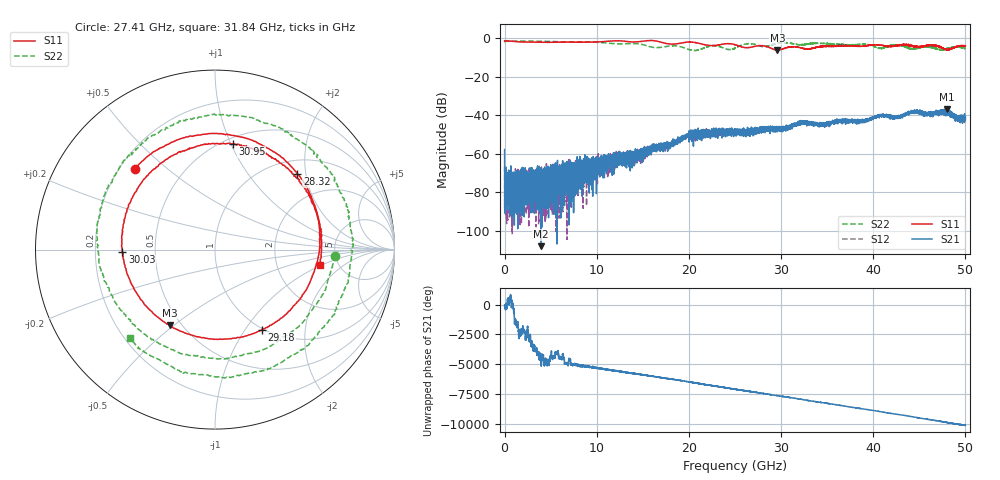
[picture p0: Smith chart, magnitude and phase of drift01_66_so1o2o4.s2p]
!Created with skrf (http://scikit-rf.org).
# Hz S RI R 50.0
!freq ReS11 ImS11 ReS21 ImS21 ReS12 ImS12 ReS22 ImS22
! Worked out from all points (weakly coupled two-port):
!   10001 points, 300 kHz to 50 GHz, reference 50 ohm
!   highest |S21| = -36.65 dB at 48.03 GHz (marker M1); lowest = -108.0 dB at 3.945 GHz (marker M2)
!   lowest |S11| = -6.2 dB at 29.61 GHz (marker M3), VSWR 2.93, Z = 21.7 - j24.1 ohm
!   |S11| at or under -10 dB: nowhere
!   |S22| runs from -6.4 to -1.4 dB; largest |S21 - S12| = 0.0032
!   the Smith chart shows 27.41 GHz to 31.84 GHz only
!   S11 on the Smith chart (normalised r, x): 27.41 GHz: 0.26, +0.39; 28.32 GHz: 1.30, +1.79; 29.18 GHz: 0.98, -1.20; 30.03 GHz: 0.32, -0.01; 30.95 GHz: 0.56, +1.01; 31.84 GHz: 3.59, -0.97
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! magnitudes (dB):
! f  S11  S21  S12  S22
! 300 kHz  -1.3  -57.8  -66.7  -2.1
! 285.3 MHz  -1.4  -72.4  -77.6  -1.4
! 3.945 GHz  -2.0  -108.0  -82.8  -1.5
! 8.335 GHz  -2.0  -69.4  -69.5  -1.8
! 16.67 GHz  -1.6  -56.4  -57.5  -4.8
! 18.62 GHz  -2.9  -53.9  -54.7  -3.9
! 20.29 GHz  -1.9  -49.4  -49.4  -6.1
! 22.62 GHz  -3.8  -49.1  -48.3  -3.8
! 25 GHz  -3.3  -48.7  -48.6  -5.0
! 27.41 GHz  -4.0  -48.9  -47.3  -3.5
! 28.32 GHz  -4.1  -48.5  -47.3  -4.3
! 29.18 GHz  -5.7  -46.4  -47.6  -3.0
! 29.61 GHz  -6.2  -46.9  -46.4  -2.6
! 30.03 GHz  -5.7  -46.5  -47.8  -2.3
! 30.95 GHz  -4.5  -46.2  -46.2  -2.5
! 31.84 GHz  -4.6  -43.8  -44.5  -3.3
! 33.34 GHz  -5.3  -44.0  -44.1  -2.6
! 41.67 GHz  -4.3  -39.8  -40.3  -4.0
! 44.51 GHz  -4.4  -38.7  -38.2  -5.3
! 46.54 GHz  -3.5  -39.9  -38.2  -4.9
! 48.03 GHz  -5.8  -36.7  -38.1  -5.4
! 50 GHz  -3.9  -40.8  -41.3  -5.3
